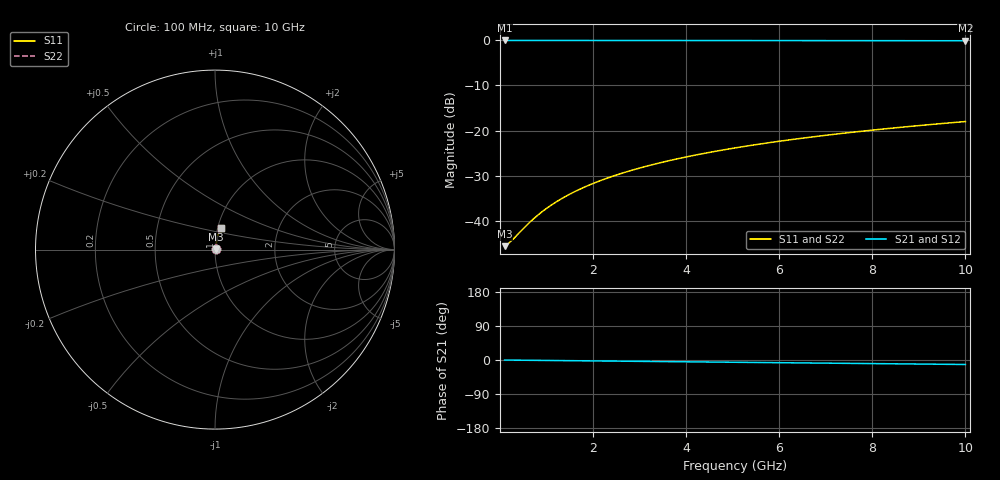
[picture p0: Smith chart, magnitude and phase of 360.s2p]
# Hz S RI R 50.00
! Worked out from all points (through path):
!   100 points, 100 MHz to 10 GHz, reference 50 ohm
!   highest |S21| = -0.04 dB at 100 MHz (marker M1); lowest = -0.1 dB at 10 GHz (marker M2)
!   group delay of S21, straight-line fit = 3.28 ps
!   lowest |S11| = -45.6 dB at 100 MHz (marker M3), VSWR 1.01, Z = 50.5 + j0.128 ohm
!   |S11| at or under -10 dB: start of sweep to end of sweep
!   |S22| runs from -45.6 to -18.0 dB; largest |S21 - S12| = 0
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1e8  0.00512 0.00126  0.9949 -0.00206  0.9949 -0.00206  0.00512 0.00126
2e8  0.00516 0.00253  0.9948 -0.00412  0.9948 -0.00412  0.00516 0.00253
3e8  0.0052 0.00379  0.9948 -0.00618  0.9948 -0.00618  0.0052 0.00379
6e8  0.00532 0.00758  0.9947 -0.0124  0.9947 -0.0124  0.00532 0.00758
7e8  0.00537 0.00884  0.9946 -0.0144  0.9946 -0.0144  0.00537 0.00884
8e8  0.00542 0.0101  0.9946 -0.0165  0.9946 -0.0165  0.00542 0.0101
1e9  0.00554 0.0126  0.9944 -0.0206  0.9944 -0.0206  0.00554 0.0126
1.2e9  0.00567 0.0152  0.9943 -0.0247  0.9943 -0.0247  0.00567 0.0152
1.4e9  0.00582 0.0177  0.9941 -0.0288  0.9941 -0.0288  0.00582 0.0177
1.6e9  0.006 0.0202  0.9939 -0.0329  0.9939 -0.0329  0.006 0.0202
1.8e9  0.00619 0.0227  0.9937 -0.0371  0.9937 -0.0371  0.00619 0.0227
2.1e9  0.00652 0.0265  0.9933 -0.0432  0.9933 -0.0432  0.00652 0.0265
2.5e9  0.00702 0.0315  0.9928 -0.0514  0.9928 -0.0514  0.00702 0.0315
2.9e9  0.00761 0.0365  0.9921 -0.0596  0.9921 -0.0596  0.00761 0.0365
3.4e9  0.00845 0.0428  0.9912 -0.0699  0.9912 -0.0699  0.00845 0.0428
4.2e9  0.0101 0.0527  0.9893 -0.0862  0.9893 -0.0862  0.0101 0.0527
5.1e9  0.0123 0.0638  0.9869 -0.1045  0.9869 -0.1045  0.0123 0.0638
5.9e9  0.0146 0.0736  0.9843 -0.1207  0.9843 -0.1207  0.0146 0.0736
6.7e9  0.0172 0.0833  0.9813 -0.1368  0.9813 -0.1368  0.0172 0.0833
7.5e9  0.0202 0.0929  0.978 -0.1528  0.978 -0.1528  0.0202 0.0929
8.4e9  0.0238 0.1036  0.9739 -0.1706  0.9739 -0.1706  0.0238 0.1036
1e10  0.0313 0.1221  0.9654 -0.202  0.9654 -0.202  0.0313 0.1221
